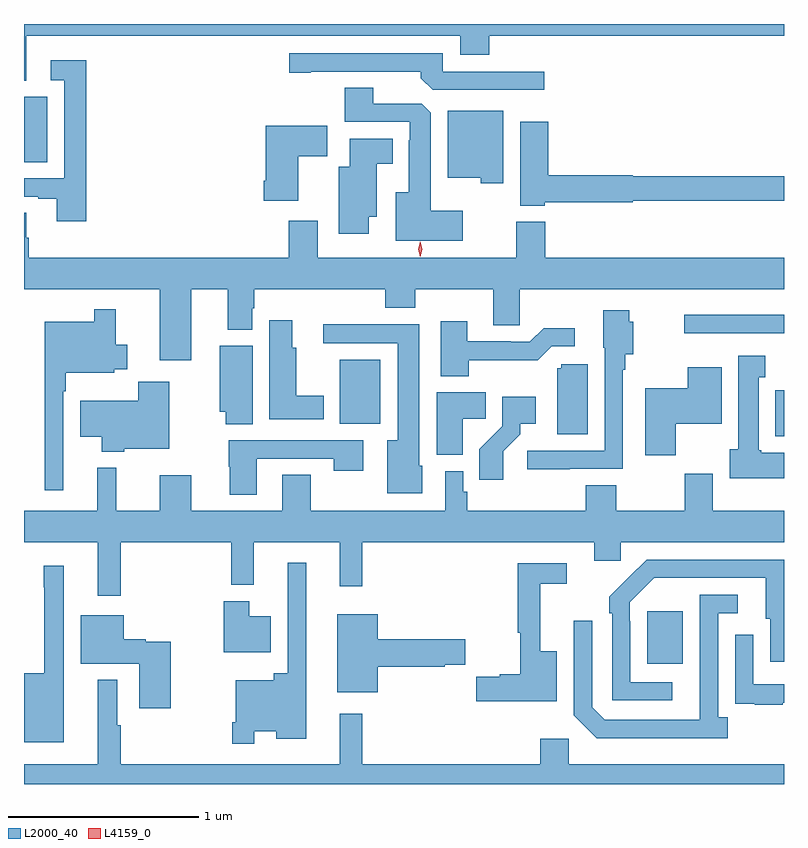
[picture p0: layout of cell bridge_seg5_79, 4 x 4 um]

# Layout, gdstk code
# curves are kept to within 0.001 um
import gdstk
lib = gdstk.Library(unit=1e-6, precision=1e-09)
def R(c, l, rs):  # rectangles x0, y0, x1, y1
    for r in rs: c.add(gdstk.rectangle(r[:2], r[2:], *l))
def P(c, l, *ps):  # polygons
    for p in ps: c.add(gdstk.Polygon(p, *l))
L2000_40 = (2000, 40)
L4159_0 = (4159, 0)

bridge_seg5_79 = lib.new_cell('bridge_seg5_79')
R(bridge_seg5_79, L2000_40, [(131.609,888.089,131.797,888.364), (132.284,889.286,132.329,889.528), (129.992,889.352,130.204,889.687), (131.805,889.827,132.329,889.924), (128.329,890.728,128.452,891.072)])
P(bridge_seg5_79, L2000_40, [(128.341,891.392),(130.625,891.392),(130.625,891.293),(130.778,891.293),(130.778,891.392),(132.329,891.392),(132.329,891.455),(128.329,891.455),(128.329,891.157),(128.341,891.157)],
  [(131.068,891.204),(130.533,891.204),(130.533,891.3),(129.726,891.3),(129.726,891.199),(129.838,891.199),(129.838,891.204),(130.418,891.204),(130.418,891.17),(130.479,891.108),(131.068,891.108)],
  [(128.657,891.265),(128.469,891.265),(128.469,891.159),(128.541,891.159),(128.541,890.643),(128.329,890.643),(128.329,890.547),(128.405,890.547),(128.405,890.535),(128.501,890.535),(128.501,890.418),(128.657,890.418)],
  [(130.639,890.473),(130.471,890.473),(130.471,890.987),(130.422,891.036),(130.168,891.036),(130.168,891.119),(130.016,891.119),(130.016,890.94),(130.359,890.94),(130.359,890.843),(130.355,890.843),(130.355,890.569),(130.286,890.569),(130.286,890.315),(130.639,890.315)],
  [(130.852,890.998),(130.559,890.998),(130.559,890.645),(130.734,890.645),(130.734,890.618),(130.852,890.618)],
  [(131.07,890.518),(131.532,890.518),(131.532,890.526),(132.329,890.526),(132.329,890.654),(131.532,890.654),(131.532,890.66),(131.087,890.66),(131.087,890.941),(130.94,890.941),(130.94,890.498),(131.07,890.498)],
  [(129.772,890.758),(129.925,890.758),(129.925,890.92),(129.602,890.92),(129.602,890.629),(129.59,890.629),(129.59,890.525),(129.772,890.525)],
  [(130.144,890.441),(130.186,890.441),(130.186,890.72),(130.27,890.72),(130.27,890.851),(130.043,890.851),(130.043,890.704),(129.986,890.704),(129.986,890.352),(130.144,890.352)],
  [(129.208,890.06),(129.401,890.06),(129.401,889.847),(129.529,889.847),(129.529,889.959),(129.542,889.959),(129.542,890.06),(130.229,890.06),(130.229,889.961),(130.389,889.961),(130.389,890.06),(130.799,890.06),(130.799,889.87),(130.938,889.87),(130.938,890.06),(132.329,890.06),(132.329,890.224),(131.072,890.224),(131.072,890.413),(130.919,890.413),(130.919,890.224),(129.874,890.224),(129.874,890.419),(129.722,890.419),(129.722,890.224),(128.354,890.224),(128.354,890.33),(128.341,890.33),(128.341,890.462),(128.329,890.462),(128.329,890.06),(129.044,890.06),(129.044,889.686),(129.208,889.686)],
  [(128.535,889.523),(128.548,889.523),(128.548,889.619),(128.805,889.619),(128.805,889.637),(128.872,889.637),(128.872,889.767),(128.811,889.767),(128.811,889.954),(128.7,889.954),(128.7,889.888),(128.438,889.888),(128.438,889.002),(128.535,889.002)],
  [(131.201,889.113),(131.481,889.113),(131.481,889.634),(131.494,889.634),(131.494,889.718),(131.536,889.718),(131.536,889.888),(131.514,889.888),(131.514,889.948),(131.378,889.948),(131.378,889.752),(131.385,889.752),(131.385,889.209),(130.977,889.209),(130.977,889.111),(131.201,889.111)],
  [(129.907,889.498),(129.763,889.498),(129.763,889.752),(129.742,889.752),(129.742,889.897),(129.62,889.897),(129.62,889.376),(129.907,889.376)],
  [(130.671,889.686),(131.033,889.685),(131.106,889.758),(131.227,889.758),(131.227,889.855),(131.065,889.855),(130.992,889.782),(130.892,889.782),(130.892,889.785),(130.663,889.785),(130.663,889.891),(130.523,889.891),(130.523,889.601),(130.671,889.601)],
  [(130.426,889.131),(130.408,889.131),(130.408,889.874),(129.903,889.874),(129.903,889.776),(130.295,889.776),(130.295,889.264),(130.241,889.264),(130.241,888.986),(130.426,888.986)],
  [(129.532,889.762),(129.359,889.762),(129.359,889.415),(129.391,889.415),(129.391,889.348),(129.532,889.348)],
  [(132.329,889.198),(132.21,889.198),(132.21,889.212),(132.196,889.212),(132.196,889.595),(132.229,889.595),(132.229,889.708),(132.089,889.708),(132.089,889.218),(132.044,889.218),(132.044,889.064),(132.329,889.064)],
  [(131.296,889.665),(131.157,889.665),(131.157,889.644),(131.135,889.644),(131.135,889.296),(131.296,889.296)],
  [(131.758,889.352),(132.001,889.352),(132.001,889.648),(131.822,889.648),(131.822,889.537),(131.6,889.537),(131.6,889.185),(131.758,889.185)],
  [(128.856,889.22),(129.094,889.22),(129.094,889.573),(128.929,889.573),(128.929,889.471),(128.624,889.471),(128.624,889.283),(128.738,889.283),(128.738,889.205),(128.856,889.205)],
  [(130.639,889.378),(130.76,889.378),(130.76,889.516),(130.502,889.516),(130.502,889.187),(130.639,889.187)],
  [(130.852,889.207),(130.942,889.297),(130.942,889.352),(131.023,889.352),(131.023,889.492),(130.845,889.492),(130.845,889.337),(130.726,889.218),(130.726,889.056),(130.852,889.056)],
  [(129.553,889.167),(129.958,889.167),(129.958,889.104),(130.114,889.104),(130.114,889.263),(129.406,889.263),(129.406,889.125),(129.413,889.125),(129.413,888.978),(129.553,888.978)],
  [(128.839,888.728),(129.421,888.728),(129.421,888.503),(129.539,888.503),(129.539,888.728),(129.992,888.728),(129.992,888.495),(130.109,888.495),(130.109,888.728),(131.33,888.728),(131.33,888.63),(131.469,888.63),(131.469,888.728),(132.329,888.728),(132.329,888.892),(131.953,888.892),(131.953,889.087),(131.806,889.087),(131.806,888.892),(131.445,888.892),(131.445,889.028),(131.285,889.028),(131.285,888.892),(130.661,888.892),(130.661,888.993),(130.641,888.993),(130.641,889.102),(130.545,889.102),(130.545,888.892),(129.837,888.892),(129.837,889.082),(129.689,889.082),(129.689,888.892),(129.208,888.892),(129.208,889.081),(129.044,889.081),(129.044,888.892),(128.814,888.892),(128.814,889.12),(128.714,889.12),(128.714,888.892),(128.329,888.892),(128.329,888.728),(128.717,888.728),(128.717,888.447),(128.839,888.447)],
  [(131.74,887.991),(131.52,887.991),(131.52,888.311),(131.517,888.311),(131.517,888.411),(131.646,888.54),(132.233,888.54),(132.233,888.324),(132.257,888.324),(132.257,888.099),(132.329,888.099),(132.329,888.636),(131.606,888.636),(131.409,888.441),(131.409,888.353),(131.424,888.353),(131.424,887.895),(131.74,887.895)],
  [(129.54,887.732),(129.656,887.732),(129.656,887.693),(129.814,887.693),(129.814,888.619),(129.717,888.619),(129.717,888.037),(129.644,888.037),(129.644,888.001),(129.444,888.001),(129.444,887.779),(129.424,887.779),(129.424,887.667),(129.54,887.667)],
  [(131.134,888.154),(131.045,888.154),(131.045,888.51),(131.185,888.51),(131.185,888.618),(130.927,888.618),(130.927,888.25),(130.942,888.25),(130.942,888.032),(130.833,888.032),(130.833,888.019),(130.708,888.019),(130.708,887.89),(131.134,887.89)],
  [(128.539,888.604),(128.433,888.604),(128.433,888.491),(128.435,888.491),(128.435,888.037),(128.329,888.037),(128.329,887.675),(128.539,887.675)],
  [(132.034,887.806),(131.982,887.806),(131.982,888.354),(132.085,888.354),(132.085,888.45),(131.886,888.45),(131.885,887.793),(131.385,887.793),(131.319,887.859),(131.319,888.313),(131.223,888.313),(131.223,887.817),(131.344,887.696),(132.034,887.696)],
  [(129.628,888.337),(129.514,888.337),(129.514,888.418),(129.38,888.418),(129.38,888.149),(129.628,888.149)],
  [(130.192,888.071),(130.544,888.071),(130.544,888.083),(130.652,888.083),(130.652,888.218),(130.192,888.218),(130.192,888.349),(129.977,888.349),(129.977,887.939),(130.192,887.939)],
  [(129.102,888.205),(128.97,888.205),(128.97,888.218),(128.854,888.218),(128.854,888.343),(128.627,888.343),(128.627,888.089),(128.936,888.089),(128.936,887.853),(129.102,887.853)],
  [(132.323,887.883),(132.329,887.883),(132.329,887.979),(132.168,887.979),(132.168,888.241),(132.072,888.241),(132.072,887.986),(132.073,887.986),(132.073,887.877),(132.175,887.877),(132.175,887.871),(132.323,887.871)],
  [(130.109,887.824),(129.992,887.824),(129.992,887.56),(128.839,887.56),(128.839,887.765),(128.821,887.765),(128.821,888.004),(128.717,888.004),(128.717,887.56),(128.329,887.56),(128.329,887.455),(132.329,887.455),(132.329,887.56),(131.196,887.56),(131.196,887.692),(131.045,887.692),(131.045,887.56),(130.109,887.56)])
P(bridge_seg5_79, L4159_0, [(130.414,890.229),(130.414,890.229),(130.405,890.269),(130.415,890.31),(130.415,890.31),(130.415,890.31),(130.425,890.269),(130.415,890.229)])

lib.write_gds('bridge_seg5_79.gds')
